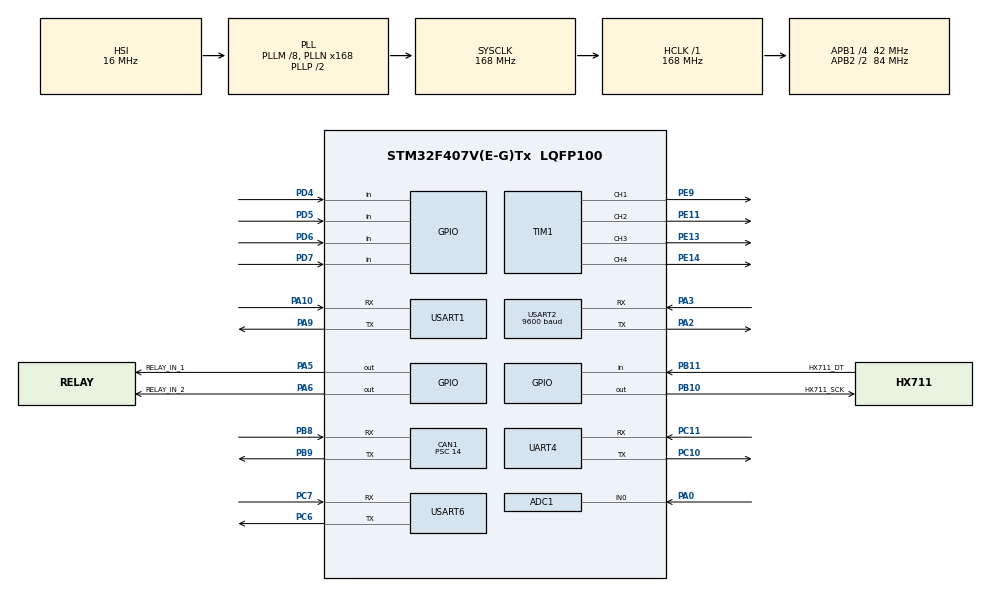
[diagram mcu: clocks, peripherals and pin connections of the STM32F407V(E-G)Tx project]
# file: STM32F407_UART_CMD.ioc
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ADC1.Channel-0\#ChannelRegularConversion=ADC_CHANNEL_0
ADC1.NbrOfConversionFlag=1
ADC1.Rank-0\#ChannelRegularConversion=1
ADC1.SamplingTime-0\#ChannelRegularConversion=ADC_SAMPLETIME_480CYCLES
ADC1.master=1
CAN1.ABOM=ENABLE
CAN1.BS1=CAN_BS1_4TQ
CAN1.CalculateBaudRate=499999
CAN1.CalculateTimeBit=2000
CAN1.CalculateTimeQuantum=333.33333333333337
CAN1.Prescaler=14
Dma.MEMTOMEM.2.Direction=DMA_MEMORY_TO_MEMORY
Dma.MEMTOMEM.2.FIFOMode=DMA_FIFOMODE_ENABLE
Dma.MEMTOMEM.2.FIFOThreshold=DMA_FIFO_THRESHOLD_FULL
Dma.MEMTOMEM.2.Instance=DMA2_Stream1
Dma.MEMTOMEM.2.MemBurst=DMA_MBURST_SINGLE
Dma.MEMTOMEM.2.MemDataAlignment=DMA_MDATAALIGN_BYTE
Dma.MEMTOMEM.2.MemInc=DMA_MINC_ENABLE
Dma.MEMTOMEM.2.Mode=DMA_NORMAL
Dma.MEMTOMEM.2.PeriphBurst=DMA_PBURST_SINGLE
Dma.MEMTOMEM.2.PeriphDataAlignment=DMA_PDATAALIGN_BYTE
Dma.MEMTOMEM.2.PeriphInc=DMA_PINC_ENABLE
Dma.MEMTOMEM.2.Priority=DMA_PRIORITY_LOW
Dma.Request0=USART6_RX
Dma.Request1=USART6_TX
Dma.Request2=MEMTOMEM
Dma.USART6_RX.0.Direction=DMA_PERIPH_TO_MEMORY
Dma.USART6_RX.0.FIFOMode=DMA_FIFOMODE_DISABLE
Dma.USART6_RX.0.Instance=DMA2_Stream2
Dma.USART6_RX.0.MemDataAlignment=DMA_MDATAALIGN_BYTE
Dma.USART6_RX.0.MemInc=DMA_MINC_ENABLE
Dma.USART6_RX.0.Mode=DMA_NORMAL
Dma.USART6_RX.0.PeriphDataAlignment=DMA_PDATAALIGN_BYTE
Dma.USART6_RX.0.PeriphInc=DMA_PINC_DISABLE
Dma.USART6_RX.0.Priority=DMA_PRIORITY_HIGH
Dma.USART6_TX.1.Direction=DMA_MEMORY_TO_PERIPH
Dma.USART6_TX.1.FIFOMode=DMA_FIFOMODE_DISABLE
Dma.USART6_TX.1.Instance=DMA2_Stream6
Dma.USART6_TX.1.MemDataAlignment=DMA_MDATAALIGN_BYTE
Dma.USART6_TX.1.MemInc=DMA_MINC_ENABLE
Dma.USART6_TX.1.Mode=DMA_NORMAL
Dma.USART6_TX.1.PeriphDataAlignment=DMA_PDATAALIGN_BYTE
Dma.USART6_TX.1.PeriphInc=DMA_PINC_DISABLE
Dma.USART6_TX.1.Priority=DMA_PRIORITY_HIGH
Mcu.Family=STM32F4
Mcu.Name=STM32F407V(E-G)Tx
Mcu.Package=LQFP100
NVIC.CAN1_RX0_IRQn=true\:0\:0\:false\:false\:true\:true\:true\:true
NVIC.DMA2_Stream1_IRQn=true\:0\:0\:false\:false\:true\:false\:true\:true
NVIC.DMA2_Stream2_IRQn=true\:0\:0\:false\:false\:true\:false\:true\:true
NVIC.DMA2_Stream6_IRQn=true\:0\:0\:false\:false\:true\:false\:true\:true
NVIC.PriorityGroup=NVIC_PRIORITYGROUP_4
NVIC.UART4_IRQn=true\:0\:0\:false\:false\:true\:true\:true\:true
NVIC.USART1_IRQn=true\:0\:0\:false\:false\:true\:true\:true\:true
NVIC.USART2_IRQn=true\:0\:0\:false\:false\:true\:true\:true\:true
NVIC.USART6_IRQn=true\:0\:0\:false\:false\:true\:true\:true\:true
PA0-WKUP.Signal=ADCx_IN0
PA10.GPIO_PuPd=GPIO_PULLUP
PA10.GPIO_Speed=GPIO_SPEED_FREQ_MEDIUM
PA10.Mode=Asynchronous
PA10.Signal=USART1_RX
PA13.Mode=Serial_Wire
PA13.Signal=SYS_JTMS-SWDIO
PA14.Mode=Serial_Wire
PA14.Signal=SYS_JTCK-SWCLK
PA2.GPIO_PuPd=GPIO_PULLUP
PA2.GPIO_Speed=GPIO_SPEED_FREQ_HIGH
PA2.Mode=Asynchronous
PA2.Signal=USART2_TX
PA3.GPIO_PuPd=GPIO_PULLUP
PA3.GPIO_Speed=GPIO_SPEED_FREQ_HIGH
PA3.Mode=Asynchronous
PA3.Signal=USART2_RX
PA5.GPIO_Label=RELAY_IN_1
PA5.GPIO_ModeDefaultOutputPP=GPIO_MODE_OUTPUT_PP
PA5.GPIO_PuPd=GPIO_NOPULL
PA5.Signal=GPIO_Output
PA6.GPIO_Label=RELAY_IN_2
PA6.Signal=GPIO_Output
PA9.GPIO_PuPd=GPIO_PULLUP
PA9.GPIO_Speed=GPIO_SPEED_FREQ_MEDIUM
PA9.Mode=Asynchronous
PA9.Signal=USART1_TX
PB10.GPIO_Label=HX711_SCK
PB10.Signal=GPIO_Output
PB11.GPIO_Label=HX711_DT
PB11.GPIO_PuPd=GPIO_NOPULL
PB11.Signal=GPIO_Input
PB8.Mode=CAN_Activate
PB8.Signal=CAN1_RX
PB9.Mode=CAN_Activate
PB9.Signal=CAN1_TX
PC10.Mode=Asynchronous
PC10.Signal=UART4_TX
PC11.Mode=Asynchronous
PC11.Signal=UART4_RX
PC14-OSC32_IN.Mode=LSE-External-Oscillator
PC14-OSC32_IN.Signal=RCC_OSC32_IN
PC15-OSC32_OUT.Mode=LSE-External-Oscillator
PC15-OSC32_OUT.Signal=RCC_OSC32_OUT
PC6.GPIO_PuPd=GPIO_PULLUP
PC6.Mode=Asynchronous
PC6.Signal=USART6_TX
PC7.GPIO_PuPd=GPIO_PULLUP
PC7.Mode=Asynchronous
PC7.Signal=USART6_RX
PD4.GPIO_PuPd=GPIO_PULLUP
PD4.Signal=GPIO_Input
PD5.GPIO_PuPd=GPIO_PULLUP
PD5.Signal=GPIO_Input
PD6.GPIO_PuPd=GPIO_PULLUP
PD6.Signal=GPIO_Input
PD7.GPIO_PuPd=GPIO_PULLUP
PD7.Signal=GPIO_Input
PE11.GPIO_Speed=GPIO_SPEED_FREQ_HIGH
PE11.Signal=S_TIM1_CH2
PE13.GPIO_Speed=GPIO_SPEED_FREQ_HIGH
PE13.Signal=S_TIM1_CH3
PE14.GPIO_Speed=GPIO_SPEED_FREQ_HIGH
PE14.Signal=S_TIM1_CH4
PE9.GPIO_Speed=GPIO_SPEED_FREQ_HIGH
PE9.Signal=S_TIM1_CH1
PH0-OSC_IN.Mode=HSE-External-Oscillator
PH0-OSC_IN.Signal=RCC_OSC_IN
PH1-OSC_OUT.Mode=HSE-External-Oscillator
PH1-OSC_OUT.Signal=RCC_OSC_OUT
ProjectManager.HeapSize=0x200
ProjectManager.StackSize=0x800
ProjectManager.TargetToolchain=MDK-ARM V5
RCC.48MHZClocksFreq_Value=84000000
RCC.AHBFreq_Value=168000000
RCC.APB1CLKDivider=RCC_HCLK_DIV4
RCC.APB1Freq_Value=42000000
RCC.APB1TimFreq_Value=84000000
RCC.APB2CLKDivider=RCC_HCLK_DIV2
RCC.APB2Freq_Value=84000000
RCC.APB2TimFreq_Value=168000000
RCC.CortexFreq_Value=168000000
RCC.HCLKFreq_Value=168000000
RCC.HSE_VALUE=25000000
RCC.HSI_VALUE=16000000
RCC.PLLM=8
RCC.PLLN=168
RCC.SYSCLKFreq_VALUE=168000000
RCC.SYSCLKSource=RCC_SYSCLKSOURCE_PLLCLK
RCC.VCOOutputFreq_Value=336000000
SH.ADCx_IN0.0=ADC1_IN0,IN0
SH.S_TIM1_CH1.0=TIM1_CH1,PWM Generation1 CH1
SH.S_TIM1_CH2.0=TIM1_CH2,PWM Generation2 CH2
SH.S_TIM1_CH3.0=TIM1_CH3,PWM Generation3 CH3
SH.S_TIM1_CH4.0=TIM1_CH4,PWM Generation4 CH4
TIM1.Channel-PWM\ Generation1\ CH1=TIM_CHANNEL_1
TIM1.Channel-PWM\ Generation2\ CH2=TIM_CHANNEL_2
TIM1.Channel-PWM\ Generation3\ CH3=TIM_CHANNEL_3
TIM1.Channel-PWM\ Generation4\ CH4=TIM_CHANNEL_4
TIM1.Pulse-PWM\ Generation1\ CH1=1500
TIM1.Pulse-PWM\ Generation2\ CH2=1500
TIM1.Pulse-PWM\ Generation3\ CH3=1500
TIM1.Pulse-PWM\ Generation4\ CH4=1500
UART4.VirtualMode=Asynchronous
USART1.VirtualMode=VM_ASYNC
USART2.BaudRate=9600
USART2.VirtualMode=VM_ASYNC
USART6.VirtualMode=VM_ASYNC
VP_TIM1_VS_ClockSourceINT.Mode=Internal
board=custom

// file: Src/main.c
/* USER CODE BEGIN Header */
/**
  ******************************************************************************
  * @file           : main.c
  * @brief          : Main program body
  ******************************************************************************
  * @attention
  *
  * <h2><center>&copy; Copyright (c) 2024 STMicroelectronics.
  * All rights reserved.</center></h2>
  *
  * This software component is licensed by ST under BSD 3-Clause license,
  * the "License"; You may not use this file except in compliance with the
  * License. You may obtain a copy of the License at:
  *                        opensource.org/licenses/BSD-3-Clause
  *
  ******************************************************************************
  */
/* USER CODE END Header */
#include "main.h"
#include "adc.h"
#include "can.h"
#include "dma.h"
#include "tim.h"
#include "usart.h"
#include "gpio.h"

/* USER CODE BEGIN Includes */

#include "OLED.h"
#include "DEBUG.h"
#include "bsp_key.h"
#include "bsp_relay.h"
#include "bsp_bluetooth.h"
#include "SERVO.h"
#include "Emm_V5.h"
#include "Conveyor_belt.h"
#include "mid_button.h"

#include "Servo_Ctrl.h"
#include "HX711.h"

#include "app_bluetooth_task.h"
#include "app_Conveyor.h"
#include "app_key_task.h"
#include "K230_cmd.h"

/* USER CODE END Includes */

void SystemClock_Config(void);

/* USER CODE BEGIN 0 */

// 继电器初始化标志位（0：释放，1：吸合）
uint8_t flag_JiDianQi = 0;

// 定义时间戳变量
static uint32_t last_bluetooth_time = 0;
static uint32_t last_scan_time = 0;
static uint32_t last_wish_time= 0;
static uint32_t last_ui_time = 0;

// K230 最新视觉结果缓存（主循环消费）
static uint16_t k230_last_x = 0;
static uint16_t k230_last_y = 0;
static Category_Type k230_last_type = CATEGORY_UNKNOWN;
static uint32_t k230_last_rx_time = 0;

// ========== USART6 (电机驱动) 接收缓冲区 ==========
MOTOR_RX_TypeDef motor_rx_data_t[MOTOR_BUFFER_QUANTITY];
volatile uint8_t motor_buff_ctrl = 0;       						// DMA 写入索引
volatile uint8_t motor_process_ctrl = 0;    						// 主循环处理索引
volatile bool motor_new_data_flag = false;  						// 新数据标志        	// 实际接收长度

//电机中断服务
void USART6_DMAHandler(void)
{
    if (__HAL_UART_GET_FLAG(&huart6, UART_FLAG_IDLE) &&
        __HAL_UART_GET_IT_SOURCE(&huart6, UART_IT_IDLE))
    {
		//清除 IDLE 标志
        __HAL_UART_CLEAR_IDLEFLAG(&huart6);
		//停止 DMA，防止干扰
        HAL_UART_DMAStop(&huart6);

        // 计算接收长度
        motor_rx_data_t[motor_buff_ctrl].size = UART6_BUFFER_SIZE - __HAL_DMA_GET_COUNTER(huart6.hdmarx);

        // 切换到下一个 buffer
        motor_buff_ctrl = (motor_buff_ctrl + 1) % MOTOR_BUFFER_QUANTITY;

        // 重启 DMA 到新 buffer
        HAL_UART_Receive_DMA(&huart6, motor_rx_data_t[motor_buff_ctrl].buffer, UART6_BUFFER_SIZE);

        // 通知主循环（如果需要进一步处理）
        motor_new_data_flag = true;
    }
}

/* USER CODE END 0 */

int main(void)
{

  /* MCU Configuration--------------------------------------------------------*/

  /* Reset of all peripherals, Initializes the Flash interface and the Systick. */
  HAL_Init();

  /* Configure the system clock */
  SystemClock_Config();

  /* Initialize all configured peripherals */
  MX_GPIO_Init();
  MX_DMA_Init();
  MX_USART1_UART_Init();
  MX_USART6_UART_Init();
  MX_USART2_UART_Init();
  MX_TIM1_Init();
  MX_ADC1_Init();
  MX_UART4_Init();
  MX_CAN1_Init();
  /* USER CODE BEGIN 2 */

	USER_CAN1_Filter_Init();																	// 初始化CAN滤波器
	if(HAL_CAN_Start(&hcan1) != HAL_OK) { Error_Handler(); }	// 启动CAN控制器
	if(HAL_CAN_ActivateNotification(&hcan1, CAN_IT_RX_FIFO0_MSG_PENDING) != HAL_OK) { Error_Handler(); }	// 使能CAN控制器接收中断

  	//USART6,电机驱动
	__HAL_UART_CLEAR_IDLEFLAG(&huart6); 																	// 清除可能残留的 IDLE 标志
	__HAL_UART_ENABLE_IT(&huart6, UART_IT_IDLE); 															// 使能 USART2 的 IDLE 中断
	HAL_UART_Receive_DMA(&huart6, motor_rx_data_t[motor_buff_ctrl].buffer, UART6_BUFFER_SIZE); 				// 启动 DMA 循环接收

	//用户初始化
	OLED_Init();
	OLED_Clear();
	Key_Init();
	user_button_init();
	Debug_Init();
	Bluetooth_Init();
	bsp_uart4_start_receive();
	HX711_Init();
	Relay_Init();

	//任务初始化
	App_Conwashing_Init();
	printf("System Init Success!\r\n");

	//PA5是切割			PA6是水泵
	// 低电平触发：0=释放（高电平），1=吸合（低电平）
//	Set_Relay_Switch(RELAY_PUMP, 0);
//	Set_Relay_Switch(RELAY_CUTTER, 0);
    // 初始OLED显示
    OLED_ShowString(0, 32, "code:", OLED_8X16);
    OLED_ShowChar(48, 32, '0' + flag_JiDianQi, OLED_8X16);
	OLED_Update();

	Bluetooth_Printf("System Init Success! Waiting for commands...\r\n");
	printf("System Init Success! Waiting for commands...\r\n");

  /* USER CODE END 2 */

  /* Infinite loop */
  /* USER CODE BEGIN WHILE */
  while (1)
  {

    uint32_t now = HAL_GetTick();

	// --- 任务1：应用层调度 (每10ms执行一次)
    if (now - last_wish_time >= 10)
    {
        last_wish_time = now;

//        // 消费 K230 新数据（由 UART4 中断生产）
//        __disable_irq();
//        if (k230_recv_data.is_valid)
//        {
//            k230_last_x = k230_recv_data.x;
//            k230_last_y = k230_recv_data.y;
//            k230_last_type = k230_recv_data.category_type;
//            k230_recv_data.is_valid = 0;
//            k230_last_rx_time = now;
//        }
//        __enable_irq();

        App_Conwashing_Task();  // 运行传送带状态机
    }

    // --- 任务2：按键扫描 (每30ms执行一次)
    if (now - last_scan_time >= 30)
    {
        last_scan_time = now;

        flex_button_scan();     // 扫描按键
    }

    // --- 任务3：蓝牙扫描 (每50ms执行一次)
    if (now - last_bluetooth_time >= 50)
    {
        last_bluetooth_time = now;

        Process_Bluetooth_Command();     // 扫描蓝牙
    }

    // --- 任务4：UI 刷新 (每500ms执行一次)
    if (now - last_ui_time >= 500)
    {
				last_ui_time = now;

				// 显示当前模式
				OLED_ShowString(0, 0, "Mode:", OLED_8X16);
				SystemMode_t mode = App_Get_CurrentMode();

				switch(mode) {
				case MODE_IDLE:      OLED_ShowString(48, 0, "Idle ", OLED_8X16); break;
				case MODE_AUTO_CLEAN:OLED_ShowString(48, 0, "Auto ", OLED_8X16); break;
				case MODE_ERROR:     OLED_ShowString(48, 0, "Error", OLED_8X16); break;
				default:             OLED_ShowString(48, 0, "Wait ", OLED_8X16); break;
				}

//        OLED_ShowString(0, 16, "K230:", OLED_8X16);
//        switch(k230_last_type) {
//            case CATEGORY_YELLOW: OLED_ShowString(48, 16, "YEL ", OLED_8X16); break;
//            case CATEGORY_ROOT:   OLED_ShowString(48, 16, "ROOT", OLED_8X16); break;
//            default:              OLED_ShowString(48, 16, "UNK ", OLED_8X16); break;
//        }

//        OLED_ShowString(0, 32, "X:", OLED_8X16);
//        OLED_ShowNum(16, 32, k230_last_x, 3, OLED_8X16);
//        OLED_ShowString(56, 32, "Y:", OLED_8X16);
//        OLED_ShowNum(72, 32, k230_last_y, 3, OLED_8X16);

//        OLED_ShowString(0, 48, "V:", OLED_8X16);
//        OLED_ShowNum(16, 48, (uint32_t)(now - k230_last_rx_time), 4, OLED_8X16);

        OLED_Update();
	}

    /* USER CODE END WHILE */

  }
}

void SystemClock_Config(void)
{
  RCC_OscInitTypeDef RCC_OscInitStruct = {0};
  RCC_ClkInitTypeDef RCC_ClkInitStruct = {0};

  /** Configure the main internal regulator output voltage
  */
  __HAL_RCC_PWR_CLK_ENABLE();
  __HAL_PWR_VOLTAGESCALING_CONFIG(PWR_REGULATOR_VOLTAGE_SCALE1);

  /** Initializes the RCC Oscillators according to the specified parameters
  * in the RCC_OscInitTypeDef structure.
  */
  RCC_OscInitStruct.OscillatorType = RCC_OSCILLATORTYPE_HSI;
  RCC_OscInitStruct.HSIState = RCC_HSI_ON;
  RCC_OscInitStruct.HSICalibrationValue = RCC_HSICALIBRATION_DEFAULT;
  RCC_OscInitStruct.PLL.PLLState = RCC_PLL_ON;
  RCC_OscInitStruct.PLL.PLLSource = RCC_PLLSOURCE_HSI;
  RCC_OscInitStruct.PLL.PLLM = 8;
  RCC_OscInitStruct.PLL.PLLN = 168;
  RCC_OscInitStruct.PLL.PLLP = RCC_PLLP_DIV2;
  RCC_OscInitStruct.PLL.PLLQ = 4;
  if (HAL_RCC_OscConfig(&RCC_OscInitStruct) != HAL_OK)
  {
    Error_Handler();
  }

  /** Initializes the CPU, AHB and APB buses clocks
  */
  RCC_ClkInitStruct.ClockType = RCC_CLOCKTYPE_HCLK|RCC_CLOCKTYPE_SYSCLK
                              |RCC_CLOCKTYPE_PCLK1|RCC_CLOCKTYPE_PCLK2;
  RCC_ClkInitStruct.SYSCLKSource = RCC_SYSCLKSOURCE_PLLCLK;
  RCC_ClkInitStruct.AHBCLKDivider = RCC_SYSCLK_DIV1;
  RCC_ClkInitStruct.APB1CLKDivider = RCC_HCLK_DIV4;
  RCC_ClkInitStruct.APB2CLKDivider = RCC_HCLK_DIV2;

  if (HAL_RCC_ClockConfig(&RCC_ClkInitStruct, FLASH_LATENCY_5) != HAL_OK)
  {
    Error_Handler();
  }
}

void Error_Handler(void)
{
  /* USER CODE BEGIN Error_Handler_Debug */
  /* User can add his own implementation to report the HAL error return state */
	while(1);

  /* USER CODE END Error_Handler_Debug */
}
